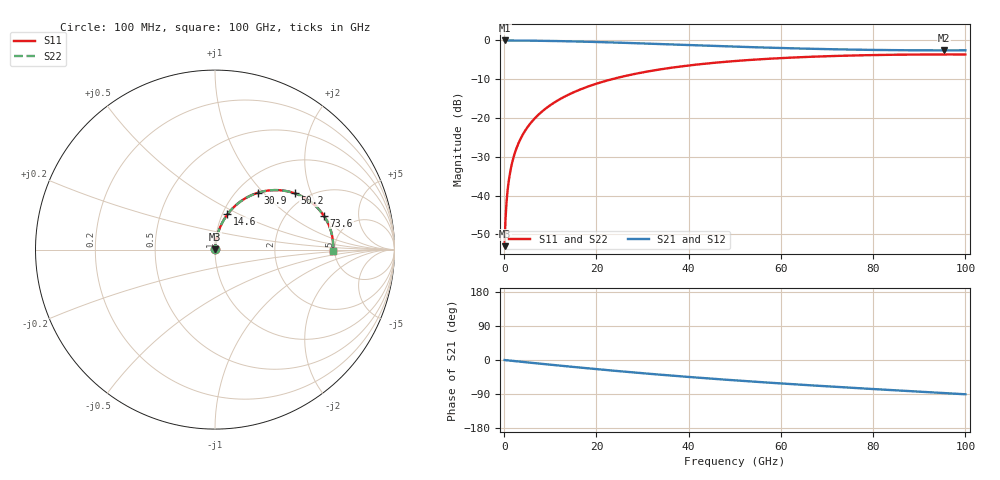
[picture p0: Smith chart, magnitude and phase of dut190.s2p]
! Touchstone file exported from HFSS 2026.1.0
!  File:  C:/ffzhzh/LocalFiles/Ansys_Project_Files/temp_train_RDL_190_1783500529_31944.aedt
!  Generated:  04:49:54 PM Jul  8, 2026
!  Design:  RDL
!  Project:  temp_train_RDL_190_1783500529_31944
! Variables:
!  h_bsmrdl = 2um
!  h_ox = 20um
!  h_rdl = 5um
!  h_sub = 80um
!  h_tmrdl = 4.93um
!  h_tsv = 80um
!  h_via = 3um
!  l_bsmrdl = 300um
!  l_sub = 690.68um
!  l_tmrdl = 290.68um
!  m_sub = 200um
!  pitch = 49.5um
!  r_tsv = 6um
!  s_tmrdl = 10um
!  w_bsmrdl = 18um
!  w_sub = 500um
!  w_tmrdl = 14.29um
!  x_tsv_center1 = 297.825um
!  x_tsv_center2 = 615.825um
!  x_tsv_center3 = 920.795um
!  x_tsv_center4 = 1238.795um
!  x_tsv_center5 = 1543.765um
!  x_tsv_center6 = 1861.765um
# GHz S MA R 50.000000
! Terminal data exported
! Port[1] = TM_RDL1_1_T1
! Port[2] = TM_RDL1_1_T2
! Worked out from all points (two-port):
!   1000 points, 100 MHz to 100 GHz, reference 50 ohm
!   highest |S21| = -0.01 dB at 100 MHz (marker M1); lowest = -2.6 dB at 95.4 GHz (marker M2)
!   |S21| within 3 dB of the highest: start of sweep to end of sweep
!   lowest |S11| = -53.0 dB at 100 MHz (marker M3), VSWR 1.00, Z = 50.2 + j0.16 ohm
!   |S11| at or under -10 dB: start of sweep to 23.36 GHz
!   |S22| runs from -53.0 to -3.6 dB; largest |S21 - S12| = 6.8e-15
!   S11 on the Smith chart (normalised r, x): 100 MHz: 1.00, +0.00; 14.6 GHz: 1.06, +0.43; 30.9 GHz: 1.24, +0.93; 50.2 GHz: 1.73, +1.54; 73.6 GHz: 3.13, +1.98; 100 GHz: 4.84, -0.16
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0.1  0.002235 45.5  0.9984 -0.1  0.9984 -0.1  0.002235 45.5
! Gamma 0 0 0 0
! Port Impedance 50 0 50 0
0.8  0.01248 80.6  0.9981 -1.0  0.9981 -1.0  0.01248 80.6
1  0.0155 81.8  0.998 -1.3  0.998 -1.3  0.0155 81.8
1.3  0.02004 82.8  0.9979 -1.7  0.9979 -1.7  0.02004 82.8
1.7  0.0261 83.4  0.9976 -2.2  0.9976 -2.2  0.0261 83.4
2.2  0.03366 83.5  0.9972 -2.8  0.9972 -2.8  0.03366 83.5
3.5  0.05313 82.7  0.9959 -4.4  0.9959 -4.4  0.05313 82.7
5.4  0.08105 80.7  0.9932 -6.8  0.9932 -6.8  0.08105 80.7
7.8  0.1155 78.1  0.9889 -9.7  0.9889 -9.7  0.1155 78.1
10.9  0.1588 74.6  0.982 -13.5  0.982 -13.5  0.1588 74.6
14.6  0.2085 70.5  0.9719 -17.8  0.9719 -17.8  0.2085 70.5
16.8  0.237 68.0  0.965 -20.4  0.965 -20.4  0.237 68.0
23.2  0.3144 61.1  0.942 -27.6  0.942 -27.6  0.3144 61.1
30.9  0.3957 53.1  0.9103 -35.8  0.9103 -35.8  0.3957 53.1
33.4  0.4193 50.6  0.8997 -38.3  0.8997 -38.3  0.4193 50.6
50.1  0.5427 35.4  0.8313 -53.8  0.8313 -53.8  0.5427 35.4
50.2  0.5433 35.3  0.831 -53.8  0.831 -53.8  0.5433 35.3
66.7  0.6159 22.3  0.7794 -67.0  0.7794 -67.0  0.6159 22.3
73.6  0.6348 17.3  0.7644 -72.1  0.7644 -72.1  0.6348 17.3
83.4  0.652 10.5  0.75 -79.0  0.75 -79.0  0.652 10.4
95.4  0.6591 2.3  0.7437 -87.3  0.7437 -87.3  0.6591 2.3
100  0.6579 -0.8  0.7447 -90.5  0.7447 -90.5  0.6579 -0.9
